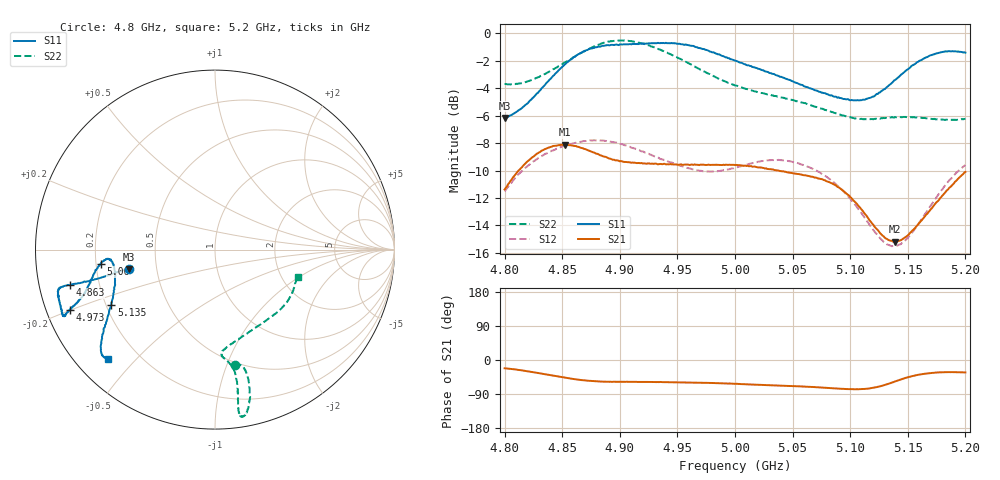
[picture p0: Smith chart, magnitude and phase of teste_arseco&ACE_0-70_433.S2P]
! Network Analyzer HP8722D
! Hewlett-Packard
! Data name: Linha & Wilkinson
! Saver's name: Rodrigo Anjos
! Comments: Teste da utilização de aquisição
! continua pelo VNA HP8722D
! Time and date: 8/5/2025 16:22
!  Frequency  S11  S21  S12  S22
# HZ  S  MA R 50
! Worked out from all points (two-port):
!   401 points, 4.8 GHz to 5.2 GHz, reference 50 ohm
!   highest |S21| = -8.11 dB at 4.852 GHz (marker M1); lowest = -15.2 dB at 5.139 GHz (marker M2)
!   |S21| within 3 dB of the highest: 4.802 GHz to 5.088 GHz (285.9 MHz wide, 5.78 % of centre); 5.187981 GHz to end of sweep
!   lowest |S11| = -6.2 dB at 4.8 GHz (marker M3), VSWR 2.94, Z = 17.2 - j5.01 ohm
!   |S11| at or under -10 dB: nowhere
!   |S22| runs from -6.3 to -0.5 dB; largest |S21 - S12| = 0.62
!   S11 on the Smith chart (normalised r, x): 4.8 GHz: 0.34, -0.10; 4.863 GHz: 0.09, -0.12; 4.973 GHz: 0.07, -0.20; 5.06 GHz: 0.22, -0.06; 5.135 GHz: 0.22, -0.24; 5.2 GHz: 0.09, -0.42
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4.8e9  0.4921 -167.0  0.2699 -21.8  0.2657 -142.9  0.6541 -80.2
4.827e9  0.5972 -166.5  0.3614 -33.0  0.3462 -147.4  0.6868 -76.0
4.852e9  0.7695 -166.1  0.3931 -46.5  0.3896 -151.8  0.783 -75.8
4.863e9  0.8345 -166.3  0.3866 -51.6  0.4016 -153.4  0.8333 -76.5
4.867e9  0.852 -166.3  0.3824 -53.1  0.4033 -154.0  0.8524 -76.9
4.898e9  0.9091 -163.6  0.3444 -57.5  0.3978 -157.7  0.9408 -80.3
4.913e9  0.9161 -160.4  0.3379 -57.6  0.3809 -158.0  0.9324 -81.4
4.934e9  0.9228 -157.0  0.3338 -58.4  0.3521 -156.3  0.8751 -81.5
4.953e9  0.9137 -156.3  0.3335 -58.8  0.3289 -152.9  0.8068 -80.8
4.973e9  0.8776 -157.4  0.3323 -60.3  0.3144 -146.6  0.727 -80.6
5e9  0.7965 -160.0  0.3313 -62.9  0.3245 -138.4  0.6461 -82.1
5.036e9  0.7037 -166.8  0.3171 -67.4  0.3452 -136.0  0.5908 -86.4
5.06e9  0.642 -172.8  0.304 -70.0  0.3311 -138.0  0.5576 -84.6
5.067e9  0.6273 -174.0  0.3005 -71.1  0.3218 -138.8  0.5449 -82.7
5.098e9  0.5762 -172.4  0.258 -76.7  0.2552 -140.3  0.4969 -67.5
5.116e9  0.5814 -163.7  0.2108 -75.4  0.2032 -134.9  0.4867 -54.4
5.134e9  0.6487 -152.7  0.1761 -62.0  0.1691 -117.4  0.4934 -42.6
5.135e9  0.6539 -152.1  0.1754 -60.7  0.1684 -116.0  0.4939 -42.0
5.139e9  0.677 -150.3  0.1741 -56.5  0.1678 -110.7  0.4957 -39.8
5.151e9  0.7458 -145.2  0.1853 -44.7  0.1819 -96.0  0.4955 -33.6
5.17e9  0.8332 -139.8  0.2287 -34.3  0.2362 -82.2  0.4885 -25.3
5.2e9  0.8517 -134.2  0.3128 -32.8  0.3312 -78.5  0.4879 -18.0
